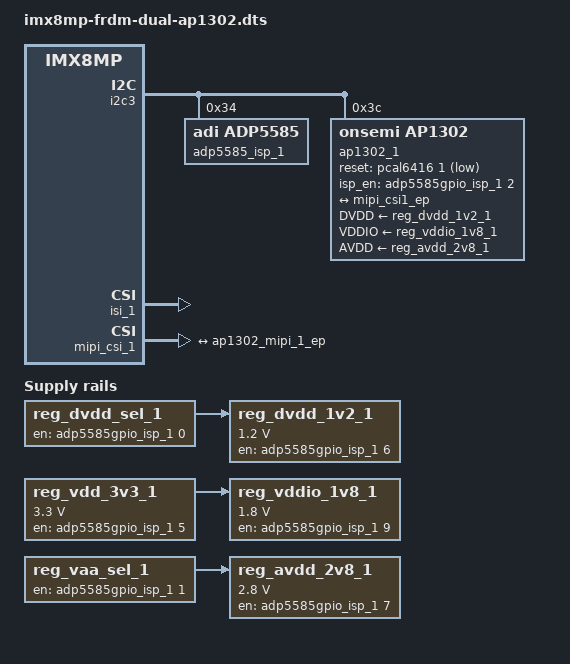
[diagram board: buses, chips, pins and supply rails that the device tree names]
// SPDX-License-Identifier: (GPL-2.0+ OR MIT)
/*
 * Copyright 2025 NXP
 */

/dts-v1/;

#include "imx8mp-frdm.dts"

/ {
	reg_dvdd_sel_1: regulator-dvdd_sel_1 {
		compatible = "regulator-fixed";
		regulator-name = "DVDD_SEL";
		gpio = <&adp5585gpio_isp_1 0 GPIO_ACTIVE_HIGH>;
		enable-active-high;
		startup-delay-us = <2000>;
	};

	reg_dvdd_1v2_1: regulator-dvdd_1 {
		compatible = "regulator-fixed";
		regulator-name = "DVDD_1V2";
		gpio = <&adp5585gpio_isp_1 6 GPIO_ACTIVE_HIGH>;
		regulator-min-microvolt = <1200000>;
		regulator-max-microvolt = <1200000>;
		enable-active-high;
		vin-supply = <&reg_dvdd_sel_1>;
	};

	reg_vdd_3v3_1: regulator-vdd_1 {
		compatible = "regulator-fixed";
		regulator-name = "VDD_3V3";
		gpio = <&adp5585gpio_isp_1 5 GPIO_ACTIVE_HIGH>;
		regulator-min-microvolt = <3300000>;
		regulator-max-microvolt = <3300000>;
		startup-delay-us = <4000>;
		enable-active-high;
	};

	reg_vddio_1v8_1: regulator-vddo_1 {
		compatible = "regulator-fixed";
		regulator-name = "VDDIO_1V8";
		gpio = <&adp5585gpio_isp_1 9 GPIO_ACTIVE_HIGH>;
		regulator-min-microvolt = <1800000>;
		regulator-max-microvolt = <1800000>;
		startup-delay-us = <4000>;
		enable-active-high;
		vin-supply = <&reg_vdd_3v3_1>;
	};

	reg_vaa_sel_1: regulator-vaa_sel_1 {
		compatible = "regulator-fixed";
		regulator-name = "VAA_SEL";
		gpio = <&adp5585gpio_isp_1 1 GPIO_ACTIVE_HIGH>;
		enable-active-high;
	};

	reg_avdd_2v8_1: regulator-avdd1 {
		compatible = "regulator-fixed";
		regulator-name = "AVDD_2V8";
		gpio = <&adp5585gpio_isp_1 7 GPIO_ACTIVE_HIGH>;
		regulator-min-microvolt = <2800000>;
		regulator-max-microvolt = <2800000>;
		enable-active-high;
		vin-supply = <&reg_vaa_sel_1>;
	};
};

&i2c3 {
	adp5585_isp_1: mfd-isp@34 {
		compatible = "adi,adp5585";
		reg = <0x34>;
		status = "okay";

		adp5585gpio_isp_1: gpio-isp {
			compatible = "adp5585-gpio";
			gpio-controller;
			#gpio-cells = <2>;
		};

		adp5585pwm_isp_1: pwm-isp {
			compatible = "adp5585-pwm";
			#pwm-cells = <3>;
		};
	};

	ap1302_1: ap1302_mipi@3c {
		compatible = "onsemi,ap1302";
		reg = <0x3c>;
		csi_id = <1>;
		reset-gpios = <&pcal6416 1 GPIO_ACTIVE_LOW>;
		isp_en-gpios  = <&adp5585gpio_isp_1 2 GPIO_ACTIVE_HIGH>;
		DVDD-supply   = <&reg_dvdd_1v2_1>;
		VDDIO-supply  = <&reg_vddio_1v8_1>;
		AVDD-supply   = <&reg_avdd_2v8_1>;
		status = "okay";

		port {
			ap1302_mipi_1_ep: endpoint {
				data-lanes = <1 2>;
				clock-lanes = <0>;
				remote-endpoint = <&mipi_csi1_ep>;
			};
		};
	};
};

&isi_1 {
	status = "okay";
};

&mipi_csi_1 {
	#address-cells = <1>;
	#size-cells = <0>;
	status = "okay";

	port@1 {
		reg = <1>;

		mipi_csi1_ep: endpoint {
			remote-endpoint = <&ap1302_mipi_1_ep>;
			data-lanes = <2>;
			csis-hs-settle = <9>;
			csis-clk-settle = <2>;
			csis-wclk;
		};
	};
};
